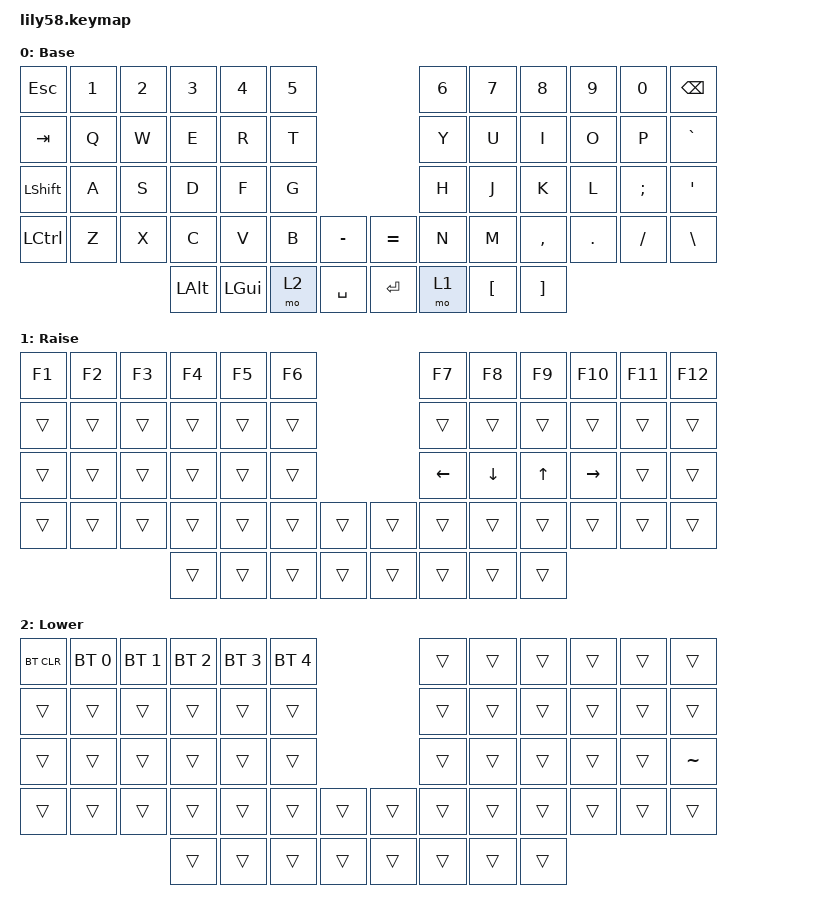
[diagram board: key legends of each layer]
/*
 * Copyright (c) 2020 The ZMK Contributors
 *
 * SPDX-License-Identifier: MIT
 */

#include <behaviors.dtsi>
#include <dt-bindings/zmk/bt.h>
#include <dt-bindings/zmk/keys.h>

// Used https://nickcoutsos.github.io/keymap-editor/

/ {
    keymap {
        compatible = "zmk,keymap";

        default_layer {
            // ------------------------------------------------------------------------------------------------------------
            // |  ESC  |  1  |  2  |  3   |  4   |  5   |                   |  6   |  7    |  8    |  9   |   0   | BSPC  |
            // |  TAB  |  Q  |  W  |  E   |  R   |  T   |                   |  Y   |  U    |  I    |  O   |   P   |   `   |
            // | SHIFT |  A  |  S  |  D   |  F   |  G   |                   |  H   |  J    |  K    |  L   |   ;   |   '   |
            // | CTRL  |  Z  |  X  |  C   |  V   |  B   |    -   |  |   +   |  N   |  M    |  ,    |  .   |   /   |   \   |
            //                     | ALT  | GUI  | LOWER|  SPACE |  | ENTER | RAISE| "["   | "]"   |

            display-name = "Base";
            bindings = <
&kp ESC    &kp N1  &kp N2  &kp N3    &kp N4    &kp N5                          &kp N6  &kp N7    &kp N8             &kp N9   &kp N0    &kp BSPC
&kp TAB    &kp Q   &kp W   &kp E     &kp R     &kp T                           &kp Y   &kp U     &kp I              &kp O    &kp P     &kp GRAVE
&kp LSHFT  &kp A   &kp S   &kp D     &kp F     &kp G                           &kp H   &kp J     &kp K              &kp L    &kp SEMI  &kp SQT
&kp LCTRL  &kp Z   &kp X   &kp C     &kp V     &kp B   &kp MINUS    &kp EQUAL  &kp N   &kp M     &kp COMMA          &kp DOT  &kp FSLH  &kp BSLH
                           &kp LALT  &kp LGUI  &mo 2   &kp SPACE    &kp RET    &mo 1   &kp LBKT  &kp RBKT
            >;
        };

        raise_layer {
            // ------------------------------------------------------------------------------------------------------------
            // |   F1  |  F2 |  F3 |  F4  |  F5  |  F6  |                   |  F7  |   F8  |   F9  |  F10 |  F11  |  F12  |
            // |       |     |     |      |      |      |                   |      |       |       |      |       |       |
            // |       |     |     |      |      |      |                   |  <-  |   v   |   ^   |  ->  |       |       |
            // |       |     |     |      |      |      |        |  |       |      |       |       |      |       |       |
            //                     |      |      |      |        |  |       |      |       |       |

            display-name = "Raise";
            bindings = <
&kp F1  &kp F2  &kp F3  &kp F4  &kp F5  &kp F6                    &kp F7    &kp F8    &kp F9  &kp F10    &kp F11  &kp F12
&trans  &trans  &trans  &trans  &trans  &trans                    &trans    &trans    &trans  &trans     &trans   &trans
&trans  &trans  &trans  &trans  &trans  &trans                    &kp LEFT  &kp DOWN  &kp UP  &kp RIGHT  &trans   &trans
&trans  &trans  &trans  &trans  &trans  &trans  &trans    &trans  &trans    &trans    &trans  &trans     &trans   &trans
                        &trans  &trans  &trans  &trans    &trans  &trans    &trans    &trans
            >;
        };

        lower_layer {
            // ------------------------------------------------------------------------------------------------------------
            // | BTCLR | BT1 | BT2 |  BT3 |  BT4 |  BT5 |                   |      |       |       |      |       |       |
            // |       |     |     |      |      |      |                   |      |       |       |      |       |       |
            // |       |     |     |      |      |      |                   |      |       |       |      |       |       |
            // |       |     |     |      |      |      |        |  |       |      |       |       |      |       |       |
            //                     |      |      |      |        |  |       |      |       |       |

            display-name = "Lower";
            bindings = <
&bt BT_CLR  &bt BT_SEL 0  &bt BT_SEL 1  &bt BT_SEL 2  &bt BT_SEL 3  &bt BT_SEL 4                    &trans  &trans  &trans  &trans  &trans  &trans
&trans      &trans        &trans        &trans        &trans        &trans                          &trans  &trans  &trans  &trans  &trans  &trans
&trans      &trans        &trans        &trans        &trans        &trans                          &trans  &trans  &trans  &trans  &trans  &kp TILDE
&trans      &trans        &trans        &trans        &trans        &trans        &trans    &trans  &trans  &trans  &trans  &trans  &trans  &trans
                                        &trans        &trans        &trans        &trans    &trans  &trans  &trans  &trans
            >;
        };
    };
};
